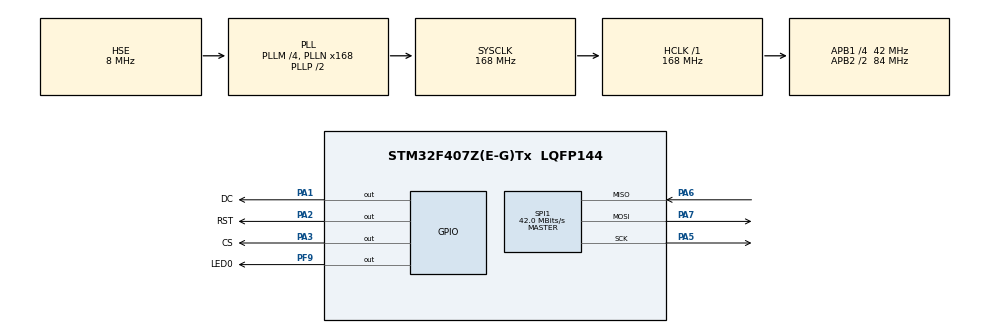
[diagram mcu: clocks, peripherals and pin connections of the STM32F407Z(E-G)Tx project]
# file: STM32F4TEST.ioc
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Dma.Request0=SPI1_TX
Dma.SPI1_TX.0.Direction=DMA_MEMORY_TO_PERIPH
Dma.SPI1_TX.0.FIFOMode=DMA_FIFOMODE_DISABLE
Dma.SPI1_TX.0.Instance=DMA2_Stream3
Dma.SPI1_TX.0.MemDataAlignment=DMA_MDATAALIGN_HALFWORD
Dma.SPI1_TX.0.MemInc=DMA_MINC_ENABLE
Dma.SPI1_TX.0.Mode=DMA_NORMAL
Dma.SPI1_TX.0.PeriphDataAlignment=DMA_PDATAALIGN_HALFWORD
Dma.SPI1_TX.0.PeriphInc=DMA_PINC_DISABLE
Dma.SPI1_TX.0.Priority=DMA_PRIORITY_LOW
Mcu.Family=STM32F4
Mcu.Name=STM32F407Z(E-G)Tx
Mcu.Package=LQFP144
NVIC.DMA2_Stream3_IRQn=true\:0\:0\:false\:false\:true\:false\:true\:true
NVIC.PriorityGroup=NVIC_PRIORITYGROUP_4
NVIC.TIM6_DAC_IRQn=true\:0\:0\:false\:false\:true\:true\:true\:true
PA1.GPIO_Label=DC
PA1.GPIO_Speed=GPIO_SPEED_FREQ_VERY_HIGH
PA1.PinState=GPIO_PIN_SET
PA1.Signal=GPIO_Output
PA13.Mode=Serial_Wire
PA13.Signal=SYS_JTMS-SWDIO
PA14.Mode=Serial_Wire
PA14.Signal=SYS_JTCK-SWCLK
PA2.GPIO_Label=RST
PA2.GPIO_Speed=GPIO_SPEED_FREQ_VERY_HIGH
PA2.PinState=GPIO_PIN_SET
PA2.Signal=GPIO_Output
PA3.GPIO_Label=CS
PA3.GPIO_Speed=GPIO_SPEED_FREQ_VERY_HIGH
PA3.PinState=GPIO_PIN_SET
PA3.Signal=GPIO_Output
PA5.Mode=Full_Duplex_Master
PA5.Signal=SPI1_SCK
PA6.Mode=Full_Duplex_Master
PA6.Signal=SPI1_MISO
PA7.Mode=Full_Duplex_Master
PA7.Signal=SPI1_MOSI
PF9.GPIO_Label=LED0
PF9.Signal=GPIO_Output
PH0-OSC_IN.Mode=HSE-External-Oscillator
PH0-OSC_IN.Signal=RCC_OSC_IN
PH1-OSC_OUT.Mode=HSE-External-Oscillator
PH1-OSC_OUT.Signal=RCC_OSC_OUT
ProjectManager.HeapSize=0x200
ProjectManager.StackSize=0x800
ProjectManager.TargetToolchain=MDK-ARM V5.32
RCC.48MHZClocksFreq_Value=84000000
RCC.AHBFreq_Value=168000000
RCC.APB1CLKDivider=RCC_HCLK_DIV4
RCC.APB1Freq_Value=42000000
RCC.APB1TimFreq_Value=84000000
RCC.APB2CLKDivider=RCC_HCLK_DIV2
RCC.APB2Freq_Value=84000000
RCC.APB2TimFreq_Value=168000000
RCC.CortexFreq_Value=168000000
RCC.HCLKFreq_Value=168000000
RCC.HSE_VALUE=8000000
RCC.HSI_VALUE=16000000
RCC.LSE_VALUE=32768
RCC.PLLM=4
RCC.PLLN=168
RCC.PLLSourceVirtual=RCC_PLLSOURCE_HSE
RCC.SYSCLKFreq_VALUE=168000000
RCC.SYSCLKSource=RCC_SYSCLKSOURCE_PLLCLK
RCC.VCOOutputFreq_Value=336000000
SPI1.CLKPhase=SPI_PHASE_2EDGE
SPI1.CLKPolarity=SPI_POLARITY_HIGH
SPI1.CalculateBaudRate=42.0 MBits/s
SPI1.Direction=SPI_DIRECTION_2LINES
SPI1.Mode=SPI_MODE_MASTER
SPI1.VirtualType=VM_MASTER
TIM6.Period=1000-1
TIM6.Prescaler=84-1
VP_TIM6_VS_ClockSourceINT.Mode=Enable_Timer
board=custom

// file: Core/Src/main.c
/* USER CODE BEGIN Header */
/**
  ******************************************************************************
  * @file           : main.c
  * @brief          : Main program body
  ******************************************************************************
  * @attention
  *
  * Copyright (c) 2024 STMicroelectronics.
  * All rights reserved.
  *
  * This software is licensed under terms that can be found in the LICENSE file
  * in the root directory of this software component.
  * If no LICENSE file comes with this software, it is provided AS-IS.
  *
  ******************************************************************************
  */
/* USER CODE END Header */
#include "main.h"
#include "dma.h"
#include "spi.h"
#include "tim.h"
#include "gpio.h"

/* USER CODE BEGIN Includes */
#include "lcd.h"
#include "lcd_init.h"
#include "pic.h"
#include "CST816.h"
#include "lvgl.h"
#include "lv_port_disp_template.h"
#include "lv_port_indev_template.h"
#include "lv_demo_music.h"
#include "lv_demo_stress.h"
/* USER CODE END Includes */

void SystemClock_Config(void);

int main(void)
{
  /* USER CODE BEGIN 1 */
delay_init();
  /* USER CODE END 1 */

  /* MCU Configuration--------------------------------------------------------*/

  /* Reset of all peripherals, Initializes the Flash interface and the Systick. */
  HAL_Init();

  /* Configure the system clock */
  SystemClock_Config();

  /* Initialize all configured peripherals */
  MX_GPIO_Init();
  MX_DMA_Init();
  MX_SPI1_Init();
  MX_TIM6_Init();
  /* USER CODE BEGIN 2 */

	lv_init();
	lv_port_disp_init();
	lv_port_indev_init();
  HAL_TIM_Base_Start_IT(&htim6);
  LCD_Fill(0,0,LCD_W,LCD_H,BLACK);
	delay_ms(10);

	LCD_ShowString(72,LCD_H/2,(uint8_t*)"Welcome!",WHITE,BLACK,24,0);//12*6,16*8,24*12,32*16
	LCD_ShowString(36,LCD_H/2+48,(uint8_t*)"OV-Watch V2.4.1",WHITE,BLACK,24,0);
	delay_ms(1000);
	LCD_Fill(0,LCD_H/2-24,LCD_W,LCD_H/2+49,BLACK);

 lv_demo_music();
  /* USER CODE END 2 */

  /* Infinite loop */
  while (1)
  {

    /* USER CODE BEGIN 3 */
    delay_ms(5);
    lv_timer_handler();
  }
  /* USER CODE END 3 */
}

void SystemClock_Config(void)
{
  RCC_OscInitTypeDef RCC_OscInitStruct = {0};
  RCC_ClkInitTypeDef RCC_ClkInitStruct = {0};

  /** Configure the main internal regulator output voltage
  */
  __HAL_RCC_PWR_CLK_ENABLE();
  __HAL_PWR_VOLTAGESCALING_CONFIG(PWR_REGULATOR_VOLTAGE_SCALE1);

  /** Initializes the RCC Oscillators according to the specified parameters
  * in the RCC_OscInitTypeDef structure.
  */
  RCC_OscInitStruct.OscillatorType = RCC_OSCILLATORTYPE_HSE;
  RCC_OscInitStruct.HSEState = RCC_HSE_ON;
  RCC_OscInitStruct.PLL.PLLState = RCC_PLL_ON;
  RCC_OscInitStruct.PLL.PLLSource = RCC_PLLSOURCE_HSE;
  RCC_OscInitStruct.PLL.PLLM = 4;
  RCC_OscInitStruct.PLL.PLLN = 168;
  RCC_OscInitStruct.PLL.PLLP = RCC_PLLP_DIV2;
  RCC_OscInitStruct.PLL.PLLQ = 4;
  if (HAL_RCC_OscConfig(&RCC_OscInitStruct) != HAL_OK)
  {
    Error_Handler();
  }

  /** Initializes the CPU, AHB and APB buses clocks
  */
  RCC_ClkInitStruct.ClockType = RCC_CLOCKTYPE_HCLK|RCC_CLOCKTYPE_SYSCLK
                              |RCC_CLOCKTYPE_PCLK1|RCC_CLOCKTYPE_PCLK2;
  RCC_ClkInitStruct.SYSCLKSource = RCC_SYSCLKSOURCE_PLLCLK;
  RCC_ClkInitStruct.AHBCLKDivider = RCC_SYSCLK_DIV1;
  RCC_ClkInitStruct.APB1CLKDivider = RCC_HCLK_DIV4;
  RCC_ClkInitStruct.APB2CLKDivider = RCC_HCLK_DIV2;

  if (HAL_RCC_ClockConfig(&RCC_ClkInitStruct, FLASH_LATENCY_5) != HAL_OK)
  {
    Error_Handler();
  }
}

/* USER CODE BEGIN 4 */
void HAL_TIM_PeriodElapsedCallback(TIM_HandleTypeDef *htim)
{
  if(htim->Instance == TIM6)
  {
    lv_tick_inc(1);
  }
}
/* USER CODE END 4 */

void Error_Handler(void)
{
  __disable_irq();
  while (1)
  {
  }
}
